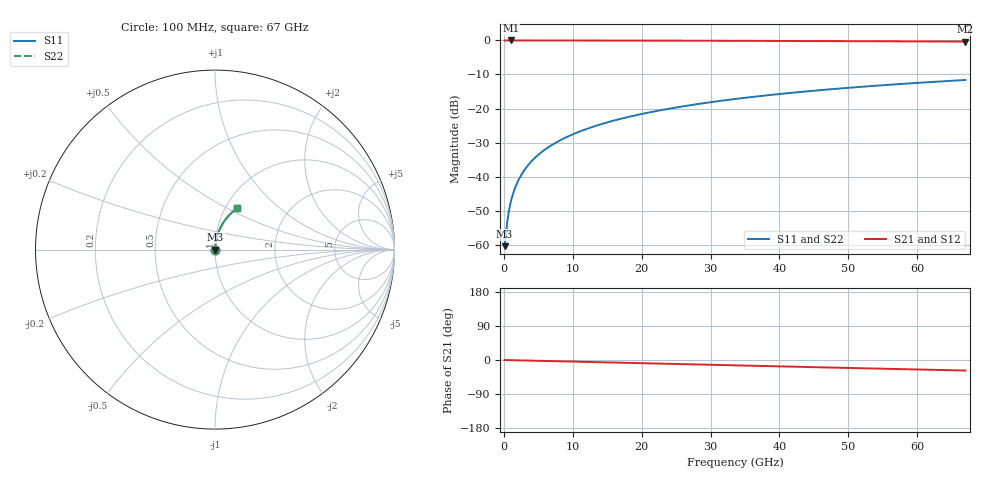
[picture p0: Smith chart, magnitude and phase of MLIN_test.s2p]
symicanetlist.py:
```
import os


class SymicaNetlist:
    def __init__(self, working_dir: str, freq_range: list = None):
        """
        Initialize the SymicaNetlist generator.

        Args:
            working_dir (str): Directory for input/output files (e.g., 'E:/Saves/pycharm/SubprocessTest/symica').
            freq_range (list, optional): Frequency range in Hz [start, stop, step]. Defaults to [0.1e9, 67e9, 0.1e9].
        """
        self.working_dir = os.path.abspath(working_dir)
        self.freq_range = freq_range if freq_range else [0.1e9, 0.2e9, 67e9]
        self.sym_dir = os.path.join(self.working_dir, "Files", "sym")
        self.snp_dir = os.path.join(self.working_dir, "Files", "snp")
        self.cir_dir = os.path.join(self.working_dir, "Files", "cir")
        os.makedirs(self.sym_dir, exist_ok=True)
        os.makedirs(self.snp_dir, exist_ok=True)
        os.makedirs(self.cir_dir, exist_ok=True)

    def generate_netlist(self, simulation_type: str, structure_name: str, num_ports: int,
                         input_file: str = None, subcircuit_text: str = None) -> str:
        """
        Generate a SymSpice netlist string.

        Args:
            simulation_type (str): Type of simulation ('SymSnpTest', 'SymSubTest', 'CustomCir').
            structure_name (str): Name of the structure (e.g., 'MLIN', 'TFR').
            num_ports (int): Number of ports for the structure.
            input_file (str, optional): Path to input file (.sNp for SymSnpTest, .cir for SymSubTest/CustomCir).
            subcircuit_text (str, optional): Subcircuit definition text for CustomCir.

        Returns:
            str: Generated netlist string.
        """
        # Common initial lines
        netlist = [
            "simulator lang=local",
            "global 0",
            ""
        ]

        # Convert frequency range to GHz
        freq_start = self.freq_range[0] / 1e9  # GHz
        freq_stop = self.freq_range[-1] / 1e9  # GHz
        freq_step = (self.freq_range[1] - self.freq_range[0]) / 1e9  # GHz
        output_path = os.path.join(self.sym_dir, f"{structure_name}_test.s{num_ports}p").replace("\\", "/")

        if simulation_type == "SymSnpTest":
            if not input_file:
                raise ValueError("SymSnpTest requires an input .sNp file")
            input_path = os.path.abspath(input_file).replace("\\", "/")
            if not os.path.exists(input_path):
                raise FileNotFoundError(f"Input file {input_path} not found")

            # Add NPORT
            nport_nodes = " ".join(f"{i + 1} 0" for i in range(num_ports))
            netlist.append(f"NPORT0 {nport_nodes} nport file=\"{input_path}\"")
            netlist.append("")

            # Add ports
            for i in range(num_ports):
                netlist.append(
                    f"PORT{i} {i + 1} 0 port r=50 num={i + 1} type=sine rptstart=1 rpttimes=0"
                )
            netlist.append("")

            # Add SPSweep
            netlist.append(
                f"SPSweep sp start={freq_start}G stop={freq_stop}G step={freq_step}G file=\"{output_path}\""
            )

        elif simulation_type == "SymSubTest":
            if not input_file:
                raise ValueError("SymSubTest requires an input .cir file")
            input_path = os.path.abspath(input_file).replace("\\", "/")
            if not os.path.exists(input_path):
                raise FileNotFoundError(f"Input file {input_path} not found")

            netlist.append(f"include \"{input_path}\"")
            netlist.append("")

            # Add element U1
            nodes = " ".join(f"p{i + 1}" for i in range(num_ports))
            netlist.append(f"U1 {nodes} s_equivalent")
            netlist.append("")

            # Add ports
            for i in range(num_ports):
                netlist.append(
                    f"PORT{i + 1} p{i + 1} 0 port r=50 num={i + 1} type=sine fundname=aaa ampl=0.0001 "
                    f"freq=5000000000 data=0 rptstart=1 rpttimes=0 mag=1e-006"
                )
            netlist.append("")

            # Add sp analysis
            netlist.append(
                f"sp sp start={freq_start}G stop={freq_stop}G dec=401 file=\"{output_path}\""
            )

        elif simulation_type == "CustomCir":
            if not subcircuit_text:
                raise ValueError("CustomCir requires subcircuit_text")

            # Add subcircuit definition
            netlist.append(subcircuit_text)
            netlist.append("")

            # Add instance
            nodes = " ".join(f"p{i + 1}" for i in range(num_ports))
            netlist.append(f"X1 {nodes} {structure_name}")
            netlist.append("")

            # Add ports
            for i in range(num_ports):
                netlist.append(
                    f"PORT{i + 1} p{i + 1} 0 port r=50 num={i + 1} type=sine fundname=aaa ampl=0.0001 "
                    f"freq=5000000000 data=0 rptstart=0 mag=1e-006"
                )
            netlist.append("")

            # Add sp analysis
            netlist.append(
                f"sp sp start={freq_start}G stop={freq_stop}G dec=401 file=\"{output_path}\""
            )

        else:
            raise ValueError(f"Unsupported simulation type: {simulation_type}")

        # Add DEFAULT_OPTIONS
        if simulation_type == "SymSnpTest":
            netlist.append("DEFAULT_OPTIONS options tnom=27 temp=27 reltol=1.000000e-03")
        else:
            netlist.append(
                "DEFAULT_OPTIONS options tnom=27 temp=27 acout=0 fast_spice=0 reltol=1.000000e-003 rawfmt=nutascii"
            )

        return "\n".join(netlist)


if __name__ == "__main__":
    # Example usage
    import numpy as np
    freqs = np.linspace(0.1e9, 67e9, 100)
    print(freqs)
    netlist_gen = SymicaNetlist(working_dir="E:/Saves/pycharm/SubprocessTest/symica")

    # Example for SymSnpTest
    snp_netlist = netlist_gen.generate_netlist(
        simulation_type="SymSnpTest",
        structure_name="MLIN",
        num_ports=2,
        input_file="E:/Saves/pycharm/SubprocessTest/symica/MLIN_test.s2p"
    )
    print("SymSnpTest Netlist:")
    print(snp_netlist)
    print("\n")

    # Example for CustomCir
    subcircuit_text = """
subckt MLIN p1 p2
R1 p1 p2 50
ends MLIN
"""
    custom_netlist = netlist_gen.generate_netlist(
        simulation_type="CustomCir",
        structure_name="TFR",
        num_ports=2,
        subcircuit_text=subcircuit_text
    )
    print("CustomCir Netlist:")
    print(custom_netlist)
```
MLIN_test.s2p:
! Touchstone Ver. 1.0
! Number of ports is 2
# Hz  S RI  R  50
! SCATTERING PARAMETERS  :
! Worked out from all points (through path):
!   670 points, 100 MHz to 67 GHz, reference 50 ohm
!   highest |S21| = -0.01 dB at 1 GHz (marker M1); lowest = -0.3 dB at 67 GHz (marker M2)
!   group delay of S21, straight-line fit = 1.16 ps
!   lowest |S11| = -60.4 dB at 100 MHz (marker M3), VSWR 1.00, Z = 50.1 + j0.0419 ohm
!   |S11| at or under -10 dB: start of sweep to end of sweep
!   |S22| runs from -60.4 to -11.6 dB; largest |S21 - S12| = 0
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1e8  0.000856 0.000418  0.9991 -0.000743  0.9991 -0.000743  0.000856 0.000418
7e8  0.000725 0.00293  0.9993 -0.0052  0.9993 -0.0052  0.000725 0.00293
1e9  0.00071 0.00419  0.9993 -0.00743  0.9993 -0.00743  0.00071 0.00419
1.5e9  0.00078 0.00628  0.9992 -0.0111  0.9992 -0.0111  0.00078 0.00628
2.1e9  0.000885 0.00879  0.9991 -0.0156  0.9991 -0.0156  0.000885 0.00879
3.7e9  0.00127 0.0155  0.9986 -0.0275  0.9986 -0.0275  0.00127 0.0155
6.1e9  0.00217 0.0255  0.9976 -0.0453  0.9976 -0.0453  0.00217 0.0255
9.3e9  0.00393 0.0387  0.9955 -0.0689  0.9955 -0.0689  0.00393 0.0387
1.89e10  0.0127 0.0777  0.9852 -0.139  0.9852 -0.139  0.0127 0.0777
3.36e10  0.0361 0.1334  0.9576 -0.2425  0.9576 -0.2425  0.0361 0.1334
6.7e10  0.1252 0.2308  0.8501 -0.4486  0.8501 -0.4486  0.1252 0.2308
